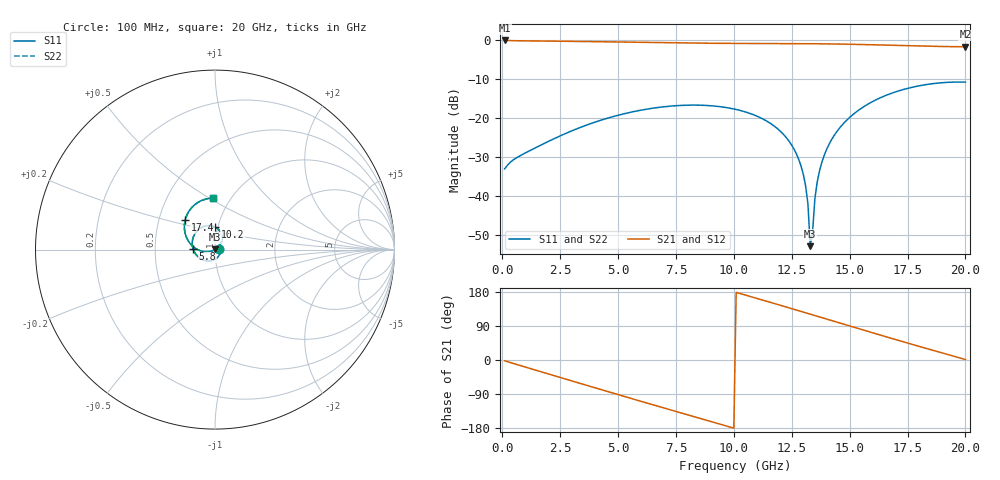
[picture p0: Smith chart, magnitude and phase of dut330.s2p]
! Touchstone file exported from HFSS 2026.1.0
!  File:  C:/ffzhzh/LocalFiles/Ansys_Project_Files/temp_train_TSV_RDL_330_1783033049_46388.aedt
!  Generated:  07:07:49 AM Jul  3, 2026
!  Design:  TSV_RDL
!  Project:  temp_train_TSV_RDL_330_1783033049_46388
! Variables:
!  h_bsmrdl = 5.32um
!  h_ox = 20um
!  h_rdl = 5um
!  h_sub = 99.03um
!  h_tmrdl = 3.13um
!  h_tsv = 99.03um
!  h_via = 3um
!  l_bsmrdl = 487.09um
!  l_sub = 5174.71um
!  l_tmrdl = 794.94um
!  m_sub = 200um
!  pitch = 29.18um
!  r_tsv = 13.61um
!  s_tmrdl = 10um
!  w_bsmrdl = 22.23um
!  w_sub = 500um
!  w_tmrdl = 22.33um
!  x_tsv_center1 = 806.105um
!  x_tsv_center2 = 1315.425um
!  x_tsv_center3 = 2132.695um
!  x_tsv_center4 = 2642.015um
!  x_tsv_center5 = 3459.285um
!  x_tsv_center6 = 3968.605um
# GHz S MA R 50.000000
! Terminal data exported
! Port[1] = TM_RDL1_1_T1
! Port[2] = TM_RDL5_1_T1
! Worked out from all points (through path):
!   200 points, 100 MHz to 20 GHz, reference 50 ohm
!   highest |S21| = -0.19 dB at 100 MHz (marker M1); lowest = -1.8 dB at 20 GHz (marker M2)
!   group delay of S21, straight-line fit = 49.8 ps
!   lowest |S11| = -53.0 dB at 13.3 GHz (marker M3), VSWR 1.00, Z = 50.2 + j0.127 ohm
!   |S11| at or under -10 dB: start of sweep to end of sweep
!   |S22| runs from -52.1 to -10.9 dB; largest |S21 - S12| = 1.6e-14
!   S11 on the Smith chart (normalised r, x): 100 MHz: 1.04, +0.00; 5.8 GHz: 0.78, +0.00; 10.2 GHz: 0.97, +0.25; 17.4 GHz: 0.68, +0.24; 20 GHz: 0.83, +0.52
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0.1  0.02202 2.2  0.978 -2.0  0.978 -2.0  0.02202 2.2
! Gamma 0 0 0 0
! Port Impedance 50 0 50 0
1.7  0.04502 -69.6  0.9617 -31.5  0.9617 -31.5  0.04499 -69.6
3.5  0.07759 -125.9  0.9484 -64.3  0.9484 -64.3  0.07752 -125.9
5.8  0.1218 178.7  0.9262 -105.7  0.9262 -105.7  0.1217 178.6
6.8  0.136 157.1  0.9163 -123.4  0.9163 -123.4  0.136 157.0
8.5  0.1447 122.5  0.9026 -153.4  0.9026 -153.4  0.1447 122.4
10.1  0.1274 91.3  0.8955 178.5  0.8955 178.5  0.1275 91.2
10.2  0.1254 89.4  0.8953 176.7  0.8953 176.7  0.1254 89.3
11.7  0.0798 60.9  0.8928 150.0  0.8928 150.0  0.07993 60.7
12.6  0.03944 44.0  0.8911 133.7  0.8911 133.7  0.03964 43.7
13.1  0.01332 35.0  0.8894 124.6  0.8894 124.6  0.01355 34.1
13.2  0.007828 33.5  0.889 122.8  0.889 122.8  0.008057 32.0
13.3  0.00225 34.3  0.8885 121.0  0.8885 121.0  0.002484 29.0
13.4  0.003417 -153.7  0.888 119.2  0.888 119.2  0.003171 -150.1
13.5  0.009149 -154.0  0.8875 117.3  0.8875 117.3  0.008897 -152.7
13.6  0.01495 -155.6  0.8869 115.5  0.8869 115.5  0.01469 -154.8
13.8  0.02675 -159.1  0.8857 111.8  0.8857 111.8  0.02648 -158.7
14.2  0.05098 -166.5  0.8827 104.5  0.8827 104.5  0.05069 -166.3
15.2  0.1132 175.0  0.872 86.2  0.872 86.2  0.1128 175.1
16.7  0.2001 147.9  0.8497 59.0  0.8497 59.0  0.1996 147.9
17.4  0.2333 135.6  0.8384 46.6  0.8384 46.6  0.2329 135.6
20  0.2855 92.2  0.812 1.3  0.812 1.3  0.285 92.2
